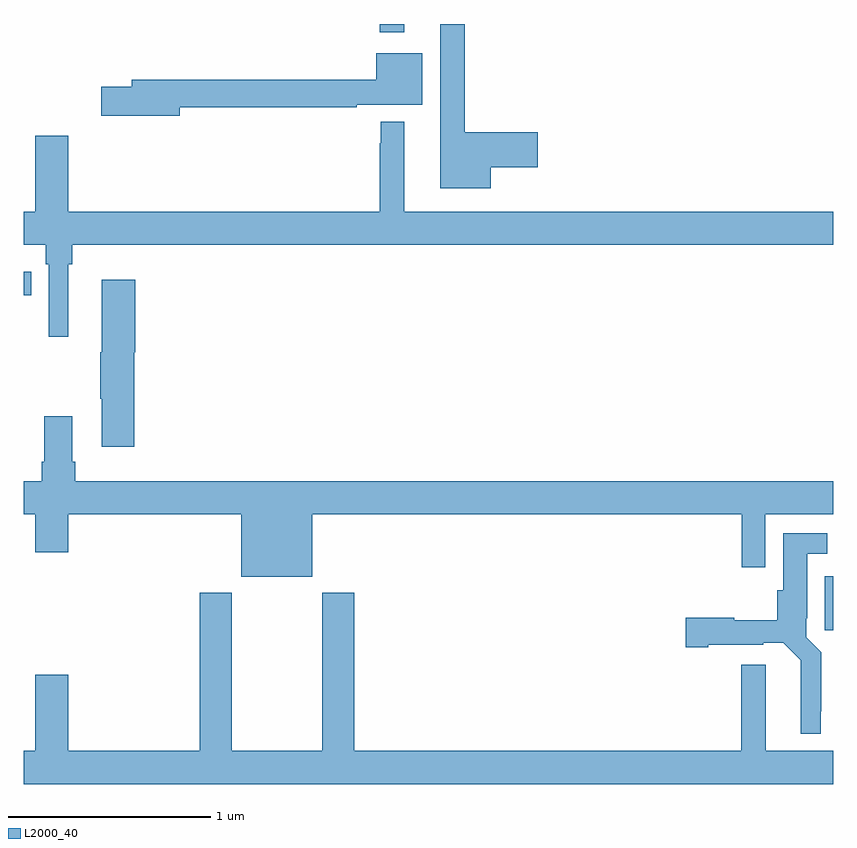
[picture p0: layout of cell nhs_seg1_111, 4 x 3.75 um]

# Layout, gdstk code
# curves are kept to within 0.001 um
import gdstk
lib = gdstk.Library(unit=1e-6, precision=1e-09)
def R(c, l, rs):  # rectangles x0, y0, x1, y1
    for r in rs: c.add(gdstk.rectangle(r[:2], r[2:], *l))
def P(c, l, *ps):  # polygons
    for p in ps: c.add(gdstk.Polygon(p, *l))
L2000_40 = (2000, 40)

nhs_seg1_111 = lib.new_cell('nhs_seg1_111')
R(nhs_seg1_111, L2000_40, [(120.959,507.204,121,507.471), (117,508.858,117.038,508.974), (118.758,510.159,118.879,510.199)])
P(nhs_seg1_111, L2000_40, [(119.308,509.492),(119.539,509.492),(119.539,509.663),(119.179,509.663),(119.179,510.199),(119.057,510.199),(119.057,509.387),(119.308,509.387)],
  [(117.772,509.788),(118.646,509.788),(118.646,509.801),(118.969,509.801),(118.969,510.055),(118.742,510.055),(118.742,509.924),(117.533,509.924),(117.533,509.888),(117.384,509.888),(117.384,509.746),(117.772,509.746)],
  [(117.22,509.012),(117.239,509.012),(117.239,509.108),(121,509.108),(121,509.272),(118.879,509.272),(118.879,509.716),(118.764,509.716),(118.764,509.609),(118.758,509.609),(118.758,509.272),(117.22,509.272),(117.22,509.647),(117.056,509.647),(117.056,509.272),(117,509.272),(117,509.108),(117.11,509.108),(117.11,509.012),(117.123,509.012),(117.123,508.653),(117.22,508.653)],
  [(117.545,508.578),(117.55,508.578),(117.55,508.936),(117.386,508.936),(117.386,508.578),(117.379,508.578),(117.379,508.348),(117.386,508.348),(117.386,508.11),(117.545,508.11)],
  [(118.426,507.776),(120.547,507.776),(120.547,507.516),(120.663,507.516),(120.663,507.776),(121,507.776),(121,507.94),(117.254,507.94),(117.254,508.036),(117.241,508.036),(117.241,508.261),(117.101,508.261),(117.101,508.036),(117.089,508.036),(117.089,507.94),(117,507.94),(117,507.776),(117.056,507.776),(117.056,507.588),(117.22,507.588),(117.22,507.776),(118.076,507.776),(118.076,507.467),(118.426,507.467)],
  [(120.937,506.803),(120.941,506.803),(120.941,507.094),(120.867,507.168),(120.867,507.262),(120.871,507.262),(120.871,507.581),(120.97,507.581),(120.97,507.682),(120.752,507.682),(120.752,507.402),(120.722,507.402),(120.722,507.253),(120.51,507.253),(120.51,507.266),(120.27,507.266),(120.27,507.119),(120.382,507.119),(120.382,507.131),(120.654,507.131),(120.654,507.143),(120.753,507.143),(120.84,507.056),(120.839,506.693),(120.937,506.693)],
  [(121,506.608),(120.667,506.608),(120.667,507.034),(120.545,507.034),(120.545,506.608),(118.634,506.608),(118.634,507.388),(118.474,507.388),(118.474,506.608),(118.029,506.608),(118.029,507.388),(117.869,507.388),(117.869,506.608),(117.22,506.608),(117.22,506.983),(117.056,506.983),(117.056,506.608),(117,506.608),(117,506.444),(121,506.444)])

lib.write_gds('nhs_seg1_111.gds')
